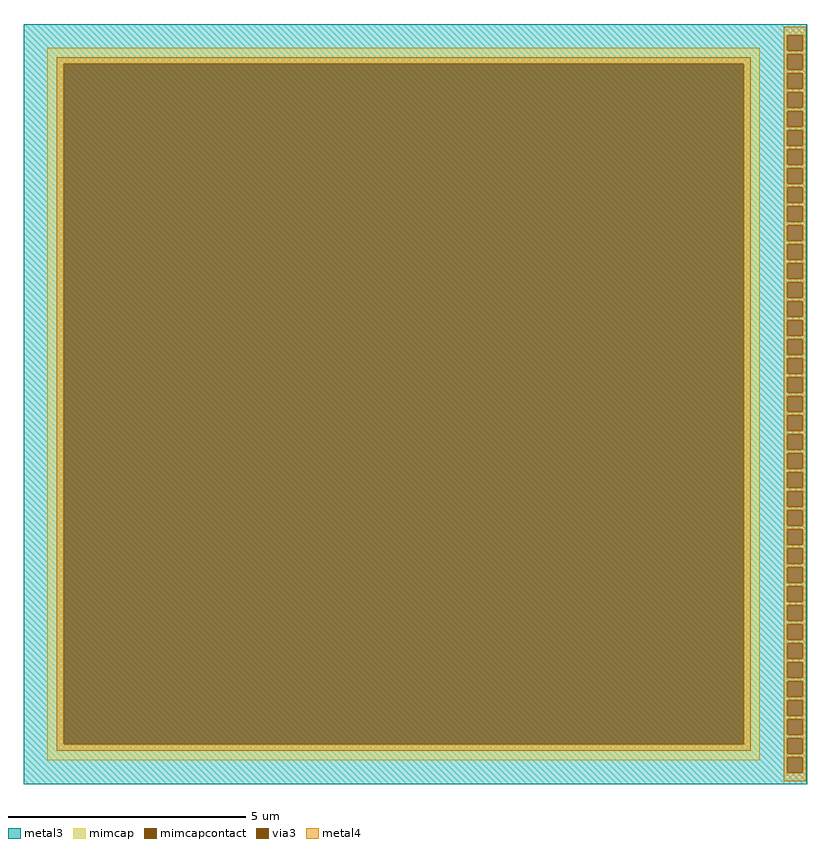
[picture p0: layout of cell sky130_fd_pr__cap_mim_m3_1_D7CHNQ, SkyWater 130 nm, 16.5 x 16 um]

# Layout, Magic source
magic
tech sky130B
magscale 1 2
<< metal3 >>
rect -1650 1552 1649 1600
rect -1650 1488 1565 1552
rect 1629 1488 1649 1552
rect -1650 1472 1649 1488
rect -1650 1408 1565 1472
rect 1629 1408 1649 1472
rect -1650 1392 1649 1408
rect -1650 1328 1565 1392
rect 1629 1328 1649 1392
rect -1650 1312 1649 1328
rect -1650 1248 1565 1312
rect 1629 1248 1649 1312
rect -1650 1232 1649 1248
rect -1650 1168 1565 1232
rect 1629 1168 1649 1232
rect -1650 1152 1649 1168
rect -1650 1088 1565 1152
rect 1629 1088 1649 1152
rect -1650 1072 1649 1088
rect -1650 1008 1565 1072
rect 1629 1008 1649 1072
rect -1650 992 1649 1008
rect -1650 928 1565 992
rect 1629 928 1649 992
rect -1650 912 1649 928
rect -1650 848 1565 912
rect 1629 848 1649 912
rect -1650 832 1649 848
rect -1650 768 1565 832
rect 1629 768 1649 832
rect -1650 752 1649 768
rect -1650 688 1565 752
rect 1629 688 1649 752
rect -1650 672 1649 688
rect -1650 608 1565 672
rect 1629 608 1649 672
rect -1650 592 1649 608
rect -1650 528 1565 592
rect 1629 528 1649 592
rect -1650 512 1649 528
rect -1650 448 1565 512
rect 1629 448 1649 512
rect -1650 432 1649 448
rect -1650 368 1565 432
rect 1629 368 1649 432
rect -1650 352 1649 368
rect -1650 288 1565 352
rect 1629 288 1649 352
rect -1650 272 1649 288
rect -1650 208 1565 272
rect 1629 208 1649 272
rect -1650 192 1649 208
rect -1650 128 1565 192
rect 1629 128 1649 192
rect -1650 112 1649 128
rect -1650 48 1565 112
rect 1629 48 1649 112
rect -1650 32 1649 48
rect -1650 -32 1565 32
rect 1629 -32 1649 32
rect -1650 -48 1649 -32
rect -1650 -112 1565 -48
rect 1629 -112 1649 -48
rect -1650 -128 1649 -112
rect -1650 -192 1565 -128
rect 1629 -192 1649 -128
rect -1650 -208 1649 -192
rect -1650 -272 1565 -208
rect 1629 -272 1649 -208
rect -1650 -288 1649 -272
rect -1650 -352 1565 -288
rect 1629 -352 1649 -288
rect -1650 -368 1649 -352
rect -1650 -432 1565 -368
rect 1629 -432 1649 -368
rect -1650 -448 1649 -432
rect -1650 -512 1565 -448
rect 1629 -512 1649 -448
rect -1650 -528 1649 -512
rect -1650 -592 1565 -528
rect 1629 -592 1649 -528
rect -1650 -608 1649 -592
rect -1650 -672 1565 -608
rect 1629 -672 1649 -608
rect -1650 -688 1649 -672
rect -1650 -752 1565 -688
rect 1629 -752 1649 -688
rect -1650 -768 1649 -752
rect -1650 -832 1565 -768
rect 1629 -832 1649 -768
rect -1650 -848 1649 -832
rect -1650 -912 1565 -848
rect 1629 -912 1649 -848
rect -1650 -928 1649 -912
rect -1650 -992 1565 -928
rect 1629 -992 1649 -928
rect -1650 -1008 1649 -992
rect -1650 -1072 1565 -1008
rect 1629 -1072 1649 -1008
rect -1650 -1088 1649 -1072
rect -1650 -1152 1565 -1088
rect 1629 -1152 1649 -1088
rect -1650 -1168 1649 -1152
rect -1650 -1232 1565 -1168
rect 1629 -1232 1649 -1168
rect -1650 -1248 1649 -1232
rect -1650 -1312 1565 -1248
rect 1629 -1312 1649 -1248
rect -1650 -1328 1649 -1312
rect -1650 -1392 1565 -1328
rect 1629 -1392 1649 -1328
rect -1650 -1408 1649 -1392
rect -1650 -1472 1565 -1408
rect 1629 -1472 1649 -1408
rect -1650 -1488 1649 -1472
rect -1650 -1552 1565 -1488
rect 1629 -1552 1649 -1488
rect -1650 -1600 1649 -1552
<< via3 >>
rect 1565 1488 1629 1552
rect 1565 1408 1629 1472
rect 1565 1328 1629 1392
rect 1565 1248 1629 1312
rect 1565 1168 1629 1232
rect 1565 1088 1629 1152
rect 1565 1008 1629 1072
rect 1565 928 1629 992
rect 1565 848 1629 912
rect 1565 768 1629 832
rect 1565 688 1629 752
rect 1565 608 1629 672
rect 1565 528 1629 592
rect 1565 448 1629 512
rect 1565 368 1629 432
rect 1565 288 1629 352
rect 1565 208 1629 272
rect 1565 128 1629 192
rect 1565 48 1629 112
rect 1565 -32 1629 32
rect 1565 -112 1629 -48
rect 1565 -192 1629 -128
rect 1565 -272 1629 -208
rect 1565 -352 1629 -288
rect 1565 -432 1629 -368
rect 1565 -512 1629 -448
rect 1565 -592 1629 -528
rect 1565 -672 1629 -608
rect 1565 -752 1629 -688
rect 1565 -832 1629 -768
rect 1565 -912 1629 -848
rect 1565 -992 1629 -928
rect 1565 -1072 1629 -1008
rect 1565 -1152 1629 -1088
rect 1565 -1232 1629 -1168
rect 1565 -1312 1629 -1248
rect 1565 -1392 1629 -1328
rect 1565 -1472 1629 -1408
rect 1565 -1552 1629 -1488
<< mimcap >>
rect -1550 1432 1450 1500
rect -1550 -1432 -1482 1432
rect 1382 -1432 1450 1432
rect -1550 -1500 1450 -1432
<< mimcapcontact >>
rect -1482 -1432 1382 1432
<< metal4 >>
rect 1549 1552 1645 1588
rect 1549 1488 1565 1552
rect 1629 1488 1645 1552
rect 1549 1472 1645 1488
rect -1511 1432 1411 1461
rect -1511 -1432 -1482 1432
rect 1382 -1432 1411 1432
rect -1511 -1461 1411 -1432
rect 1549 1408 1565 1472
rect 1629 1408 1645 1472
rect 1549 1392 1645 1408
rect 1549 1328 1565 1392
rect 1629 1328 1645 1392
rect 1549 1312 1645 1328
rect 1549 1248 1565 1312
rect 1629 1248 1645 1312
rect 1549 1232 1645 1248
rect 1549 1168 1565 1232
rect 1629 1168 1645 1232
rect 1549 1152 1645 1168
rect 1549 1088 1565 1152
rect 1629 1088 1645 1152
rect 1549 1072 1645 1088
rect 1549 1008 1565 1072
rect 1629 1008 1645 1072
rect 1549 992 1645 1008
rect 1549 928 1565 992
rect 1629 928 1645 992
rect 1549 912 1645 928
rect 1549 848 1565 912
rect 1629 848 1645 912
rect 1549 832 1645 848
rect 1549 768 1565 832
rect 1629 768 1645 832
rect 1549 752 1645 768
rect 1549 688 1565 752
rect 1629 688 1645 752
rect 1549 672 1645 688
rect 1549 608 1565 672
rect 1629 608 1645 672
rect 1549 592 1645 608
rect 1549 528 1565 592
rect 1629 528 1645 592
rect 1549 512 1645 528
rect 1549 448 1565 512
rect 1629 448 1645 512
rect 1549 432 1645 448
rect 1549 368 1565 432
rect 1629 368 1645 432
rect 1549 352 1645 368
rect 1549 288 1565 352
rect 1629 288 1645 352
rect 1549 272 1645 288
rect 1549 208 1565 272
rect 1629 208 1645 272
rect 1549 192 1645 208
rect 1549 128 1565 192
rect 1629 128 1645 192
rect 1549 112 1645 128
rect 1549 48 1565 112
rect 1629 48 1645 112
rect 1549 32 1645 48
rect 1549 -32 1565 32
rect 1629 -32 1645 32
rect 1549 -48 1645 -32
rect 1549 -112 1565 -48
rect 1629 -112 1645 -48
rect 1549 -128 1645 -112
rect 1549 -192 1565 -128
rect 1629 -192 1645 -128
rect 1549 -208 1645 -192
rect 1549 -272 1565 -208
rect 1629 -272 1645 -208
rect 1549 -288 1645 -272
rect 1549 -352 1565 -288
rect 1629 -352 1645 -288
rect 1549 -368 1645 -352
rect 1549 -432 1565 -368
rect 1629 -432 1645 -368
rect 1549 -448 1645 -432
rect 1549 -512 1565 -448
rect 1629 -512 1645 -448
rect 1549 -528 1645 -512
rect 1549 -592 1565 -528
rect 1629 -592 1645 -528
rect 1549 -608 1645 -592
rect 1549 -672 1565 -608
rect 1629 -672 1645 -608
rect 1549 -688 1645 -672
rect 1549 -752 1565 -688
rect 1629 -752 1645 -688
rect 1549 -768 1645 -752
rect 1549 -832 1565 -768
rect 1629 -832 1645 -768
rect 1549 -848 1645 -832
rect 1549 -912 1565 -848
rect 1629 -912 1645 -848
rect 1549 -928 1645 -912
rect 1549 -992 1565 -928
rect 1629 -992 1645 -928
rect 1549 -1008 1645 -992
rect 1549 -1072 1565 -1008
rect 1629 -1072 1645 -1008
rect 1549 -1088 1645 -1072
rect 1549 -1152 1565 -1088
rect 1629 -1152 1645 -1088
rect 1549 -1168 1645 -1152
rect 1549 -1232 1565 -1168
rect 1629 -1232 1645 -1168
rect 1549 -1248 1645 -1232
rect 1549 -1312 1565 -1248
rect 1629 -1312 1645 -1248
rect 1549 -1328 1645 -1312
rect 1549 -1392 1565 -1328
rect 1629 -1392 1645 -1328
rect 1549 -1408 1645 -1392
rect 1549 -1472 1565 -1408
rect 1629 -1472 1645 -1408
rect 1549 -1488 1645 -1472
rect 1549 -1552 1565 -1488
rect 1629 -1552 1645 -1488
rect 1549 -1588 1645 -1552
<< properties >>
string FIXED_BBOX -1650 -1600 1550 1600
<< end >>
